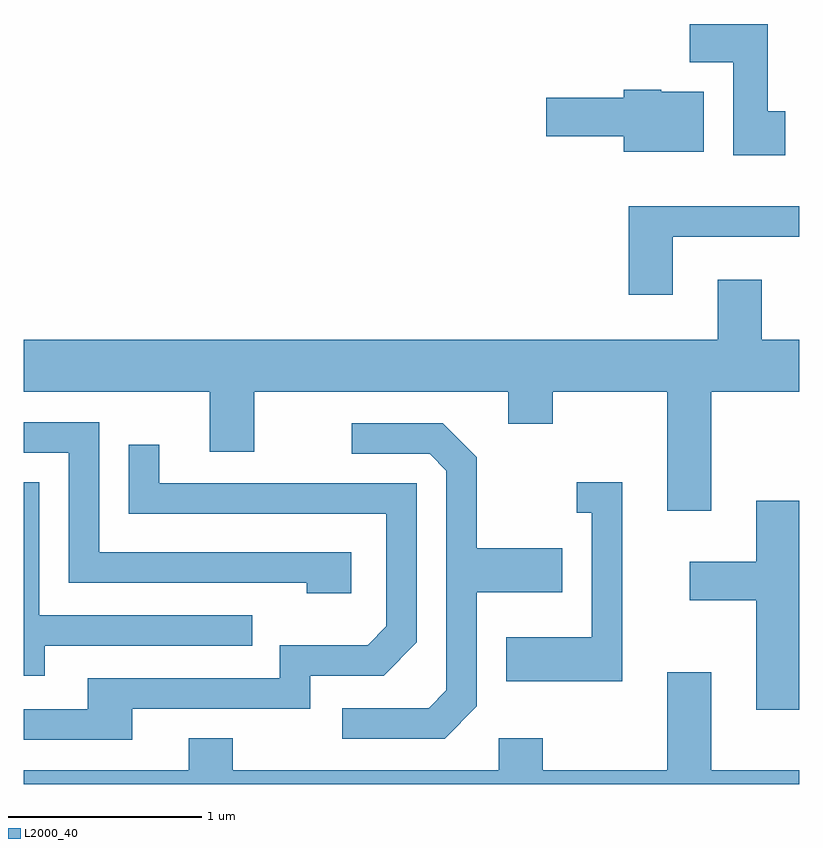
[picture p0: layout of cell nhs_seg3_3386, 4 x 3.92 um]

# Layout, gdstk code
import gdstk
lib = gdstk.Library(unit=1e-6, precision=1e-09)
def P(c, l, *ps):  # polygons
    for p in ps: c.add(gdstk.Polygon(p, *l))
L2000_40 = (2000, 40)

nhs_seg3_3386 = lib.new_cell('nhs_seg3_3386')
P(nhs_seg3_3386, L2000_40, [(287.539,1227.364),(287.449,1227.364),(287.449,1227.814),(287.046,1227.814),(287.046,1227.616),(287.271,1227.616),(287.271,1227.136),(287.539,1227.136)],
  [(287.119,1227.464),(286.9,1227.464),(286.9,1227.474),(286.706,1227.474),(286.706,1227.434),(286.306,1227.434),(286.306,1227.236),(286.706,1227.236),(286.706,1227.156),(287.119,1227.156)],
  [(286.959,1226.716),(287.611,1226.716),(287.611,1226.874),(286.731,1226.874),(286.731,1226.416),(286.959,1226.416)],
  [(287.159,1225.916),(287.611,1225.916),(287.611,1226.184),(287.419,1226.184),(287.419,1226.494),(287.191,1226.494),(287.191,1226.184),(283.611,1226.184),(283.611,1225.916),(284.571,1225.916),(284.571,1225.606),(284.799,1225.606),(284.799,1225.916),(286.111,1225.916),(286.111,1225.751),(286.339,1225.751),(286.339,1225.916),(286.931,1225.916),(286.931,1225.301),(287.159,1225.301)],
  [(285.299,1225.089),(283.999,1225.089),(283.999,1225.759),(283.611,1225.759),(283.611,1225.601),(283.841,1225.601),(283.841,1224.931),(285.071,1224.931),(285.071,1224.876),(285.299,1224.876)],
  [(285.949,1224.294),(285.949,1224.881),(286.389,1224.881),(286.389,1225.109),(285.949,1225.109),(285.949,1225.577),(285.772,1225.754),(285.303,1225.754),(285.303,1225.596),(285.704,1225.596),(285.791,1225.509),(285.791,1224.377),(285.699,1224.284),(285.253,1224.284),(285.253,1224.126),(285.782,1224.126)],
  [(284.169,1224.281),(285.089,1224.281),(285.089,1224.451),(285.467,1224.451),(285.639,1224.624),(285.639,1225.444),(284.309,1225.444),(284.309,1225.643),(284.151,1225.643),(284.151,1225.286),(285.481,1225.286),(285.481,1224.707),(285.384,1224.609),(284.931,1224.609),(284.931,1224.439),(283.941,1224.439),(283.941,1224.279),(283.611,1224.279),(283.611,1224.121),(284.169,1224.121)],
  [(283.719,1224.606),(284.788,1224.606),(284.788,1224.764),(283.689,1224.764),(283.689,1225.449),(283.611,1225.449),(283.611,1224.451),(283.719,1224.451)],
  [(286.699,1225.449),(286.463,1225.449),(286.463,1225.291),(286.541,1225.291),(286.541,1224.649),(286.101,1224.649),(286.101,1224.421),(286.699,1224.421)],
  [(287.611,1225.354),(287.391,1225.354),(287.391,1225.039),(287.046,1225.039),(287.046,1224.841),(287.391,1224.841),(287.391,1224.276),(287.611,1224.276)],
  [(287.611,1223.964),(287.159,1223.964),(287.159,1224.469),(286.931,1224.469),(286.931,1223.964),(286.289,1223.964),(286.289,1224.129),(286.061,1224.129),(286.061,1223.964),(284.689,1223.964),(284.689,1224.129),(284.461,1224.129),(284.461,1223.964),(283.611,1223.964),(283.611,1223.892),(287.611,1223.892)])

lib.write_gds('nhs_seg3_3386.gds')
